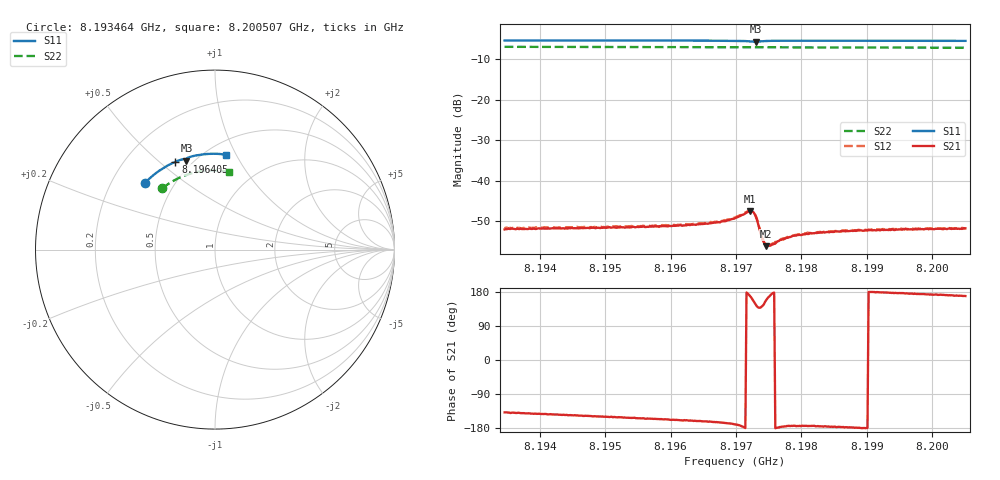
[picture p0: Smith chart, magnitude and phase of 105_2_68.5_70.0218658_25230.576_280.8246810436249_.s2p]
#  HZ  S  RI  R  50.00
! Rohde & Schwarz Vector Network Analyzer
! Rohde-Schwarz,ZNB20-2Port,1311601062101988,3.16
! Created: UTC 3/20/2024, 4:53:13 PM
! freq[Hz]  re:S11  im:S11  re:S21  im:S21  re:S12  im:S12  re:S22  im:S22
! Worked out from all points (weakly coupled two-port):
!   401 points, 8.193464 GHz to 8.200507 GHz, reference 50 ohm
!   highest |S21| = -47.50 dB at 8.197215 GHz (marker M1); lowest = -56.2 dB at 8.197461 GHz (marker M2)
!   lowest |S11| = -5.7 dB at 8.197303 GHz (marker M3), VSWR 3.16, Z = 23 + j31.1 ohm
!   |S11| at or under -10 dB: nowhere
!   |S22| runs from -7.2 to -6.9 dB; largest |S21 - S12| = 0.00022
!   S11 on the Smith chart (normalised r, x): 8.193464 GHz: 0.34, +0.36; 8.196405 GHz: 0.41, +0.57; 8.200507 GHz: 0.62, +0.91
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8.1934639e9  -0.3908 0.3715  -0.00187 -0.00167  -0.00199 -0.00166  -0.2928 0.3416
8.1946437e9  -0.3283 0.4265  -0.00218 -0.00144  -0.00231 -0.00137  -0.239 0.3791
8.1958235e9  -0.2578 0.4714  -0.00246 -0.00109  -0.00259 -0.00104  -0.1802 0.4085
8.1964046e9  -0.2203 0.4893  -0.00274 -0.000934  -0.00282 -0.0009  -0.1494 0.4197
8.1967216e9  -0.1985 0.4978  -0.00295 -0.000817  -0.00304 -0.0007  -0.1323 0.4249
8.1969857e9  -0.1786 0.5035  -0.00339 -0.000601  -0.00347 -0.000493  -0.118 0.4286
8.1972146e9  -0.1585 0.5007  -0.00414 0.000803  -0.00418 0.000956  -0.1053 0.4313
8.1972674e9  -0.1572 0.4963  -0.00373 0.00169  -0.00373 0.00185  -0.1026 0.4317
8.1973027e9  -0.1592 0.4947  -0.00301 0.00203  -0.00296 0.00218  -0.1007 0.4321
8.1973379e9  -0.1616 0.496  -0.00222 0.00194  -0.00221 0.00208  -0.0989 0.4325
8.1974083e9  -0.1616 0.5024  -0.00149 0.00112  -0.00149 0.0012  -0.0949 0.4333
8.1974259e9  -0.1607 0.5039  -0.00145 0.000955  -0.00146 0.000987  -0.0942 0.4336
8.1974611e9  -0.1584 0.5065  -0.00144 0.000588  -0.00148 0.000668  -0.092 0.4341
8.1974964e9  -0.1559 0.5088  -0.00152 0.000386  -0.0015 0.000448  -0.0903 0.4344
8.1975316e9  -0.1531 0.5105  -0.00157 0.000226  -0.00161 0.000276  -0.0881 0.4348
8.1976724e9  -0.1421 0.5153  -0.00185 -0.000103  -0.00184 -2.31e-05  -0.0804 0.4361
8.1978485e9  -0.129 0.5194  -0.00203 -0.000224  -0.00206 -0.000128  -0.0705 0.4375
8.1980598e9  -0.1135 0.523  -0.00217 -0.000235  -0.00223 -0.00016  -0.0588 0.4389
8.1981655e9  -0.1061 0.5246  -0.00223 -0.000229  -0.00225 -0.00013  -0.0528 0.4394
8.1987466e9  -0.0646 0.5309  -0.00239 -9.71e-05  -0.00246 2.05e-05  -0.02 0.441
8.1993453e9  -0.0222 0.5336  -0.00248 0.000113  -0.00252 0.000215  0.014 0.4403
8.2005075e9  0.06 0.5294  -0.00253 0.000502  -0.00254 0.000585  0.0793 0.4311
